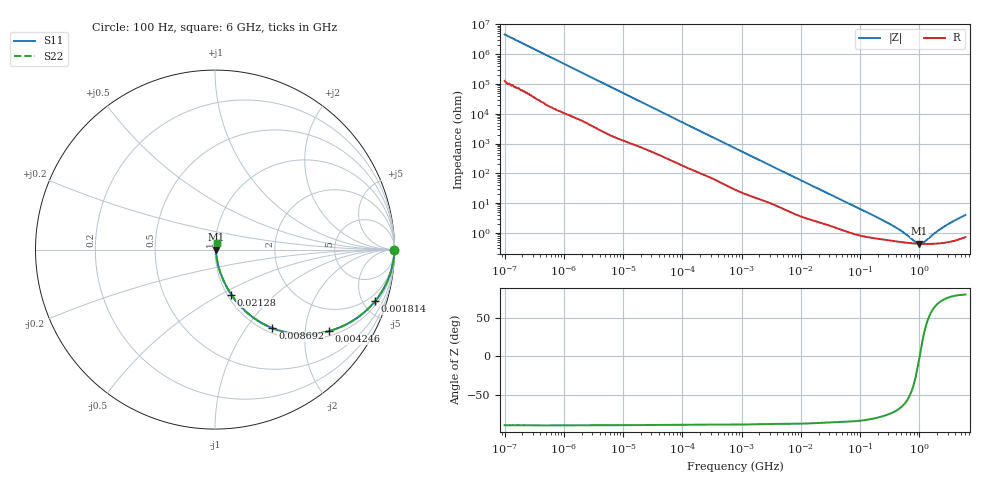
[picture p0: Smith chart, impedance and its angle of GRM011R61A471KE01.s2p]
!Murata Part Number: GRM011R61A471KE01
!These Parameters are Measured in Series Mode Connection
!Data Generated on Mar 30, 2021
!  o--ll--o
!Port1  Port2
!  o------o
!Operation Temp=25[degC], DC Bias Voltage=0[V]
!Freq. Start=100[Hz] Stop=6[GHz] 401[Steps]
# Hz S RI R 50
!Freq.(Hz) S11(Real) S11(Imag) S21(Real) S21(Imag) S12(Real) S12(Imag) S22(Real) S22(Imag)
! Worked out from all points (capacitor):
!   401 points, 100 Hz to 6 GHz, reference 50 ohm
!   read as one part in series: C = 345 pF near 109 Hz
!   lowest |Z| = 433 mohm at 1.001 GHz (marker M1)
!   series resonance near 1.013 GHz, so ESL is about 71 pH
!   S11 on the Smith chart (normalised r, x): 100 Hz: open; 1.814 MHz: 1.29, -6.08; 4.246 MHz: 1.15, -2.68; 8.692 MHz: 1.08, -1.34; 21.28 MHz: 1.04, -0.56; 6 GHz: 1.01, +0.08
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100  1 -2.18e-05  6e-07 2.18e-05  6e-07 2.18e-05  1 -2.18e-05
479  1 -0.000102  2.2e-06 0.000102  2.2e-06 0.000102  1 -0.000102
2008  1 -0.000418  1.04e-05 0.000418  1.04e-05 0.000418  1 -0.000418
40335  0.9997 -0.00799  0.000329 0.00799  0.000329 0.00799  0.9997 -0.00799
241822  0.9961 -0.0458  0.00392 0.0458  0.00392 0.0458  0.9961 -0.0458
774597  0.9745 -0.1386  0.0255 0.1386  0.0255 0.1386  0.9745 -0.1386
1813585  0.8914 -0.2881  0.1086 0.2881  0.1086 0.2881  0.8914 -0.2881
2713602  0.7972 -0.3765  0.2028 0.3765  0.2028 0.3765  0.7972 -0.3765
4246196  0.6351 -0.4542  0.3649 0.4542  0.3649 0.4542  0.6351 -0.4542
6075234  0.475 -0.4717  0.525 0.4717  0.525 0.4717  0.475 -0.4717
8692127  0.3197 -0.4376  0.6803 0.4376  0.6803 0.4376  0.3197 -0.4376
1.555665e7  0.1435 -0.3172  0.8565 0.3172  0.8565 0.3172  0.1435 -0.3172
2.128304e7  0.0906 -0.2504  0.9094 0.2504  0.9094 0.2504  0.0906 -0.2504
6.817316e7  0.0182 -0.0899  0.9818 0.0899  0.9818 0.0899  0.0182 -0.0899
3.124326e8  0.00594 -0.0193  0.9941 0.0193  0.9941 0.0193  0.00594 -0.0193
5.112761e8  0.00496 -0.01  0.995 0.01  0.995 0.01  0.00496 -0.01
8.749838e8  0.00438 -0.00205  0.9956 0.00205  0.9956 0.00205  0.00438 -0.00205
1.000774e9  0.00431 -0.000171  0.9957 0.000171  0.9957 0.000171  0.00431 -0.000171
1.197065e9  0.00427 0.00235  0.9957 -0.00235  0.9957 -0.00235  0.00427 0.00235
1.95892e9  0.00446 0.00996  0.9955 -0.00996  0.9955 -0.00996  0.00446 0.00996
2.802721e9  0.005 0.0169  0.995 -0.0169  0.995 -0.0169  0.005 0.0169
6e9  0.0087 0.0388  0.9913 -0.0388  0.9913 -0.0388  0.0087 0.0388
